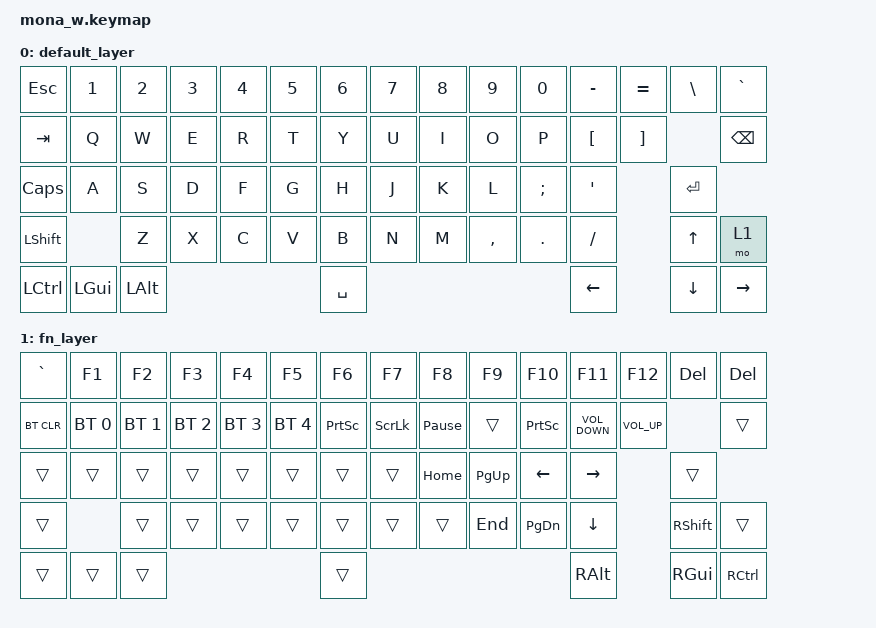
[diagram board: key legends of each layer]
/*
 * Copyright (c) 2023 Ramon Imbao
 *
 * SPDX-License-Identifier: MIT
 */

#include <behaviors.dtsi>
#include <dt-bindings/zmk/keys.h>
#include <dt-bindings/zmk/bt.h>

/ {
    keymap {
        compatible = "zmk,keymap";

        default_layer {
            bindings = <
                &kp ESC   &kp N1    &kp N2    &kp N3    &kp N4    &kp N5    &kp N6    &kp N7    &kp N8    &kp N9    &kp N0    &kp MINUS &kp EQUAL &kp BSLH  &kp GRAVE
                &kp TAB   &kp Q     &kp W     &kp E     &kp R     &kp T     &kp Y     &kp U     &kp I     &kp O     &kp P     &kp LBKT  &kp RBKT            &kp BSPC
                &kp CAPS  &kp A     &kp S     &kp D     &kp F     &kp G     &kp H     &kp J     &kp K     &kp L     &kp SEMI  &kp APOS            &kp ENTER  
                &kp LSHFT           &kp Z     &kp X     &kp C     &kp V     &kp B     &kp N     &kp M     &kp COMMA &kp DOT   &kp SLASH           &kp UP &mo 1
                &kp LCTRL &kp LGUI  &kp LALT                                &kp SPACE                                         &kp LEFT            &kp DOWN  &kp RIGHT
            >;
        };

        fn_layer {
            bindings = <
                &kp GRAVE  &kp F1       &kp F2       &kp F3       &kp F4       &kp F5       &kp F6    &kp F7    &kp F8          &kp F9    &kp F10   &kp F11   &kp F12   &kp DELETE &kp DELETE
                &bt BT_CLR &bt BT_SEL 0 &bt BT_SEL 1 &bt BT_SEL 2 &bt BT_SEL 3 &bt BT_SEL 4 &kp PSCRN &kp SLCK  &kp PAUSE_BREAK &trans    &kp PSCRN    &kp C_VOLUME_DOWN   &kp C_VOLUME_UP             &trans
                &trans     &trans       &trans       &trans       &trans       &trans       &trans    &trans    &kp HOME        &kp PG_UP &kp LEFT  &kp RIGHT           &trans
                &trans                  &trans       &trans       &trans       &trans       &trans    &trans    &trans          &kp END   &kp PG_DN &kp DOWN            &kp RSHIFT     &trans
                &trans     &trans       &trans                                              &trans                                                  &kp RALT              &kp RGUI     &kp RCTRL
            >;
        };
    };
};
